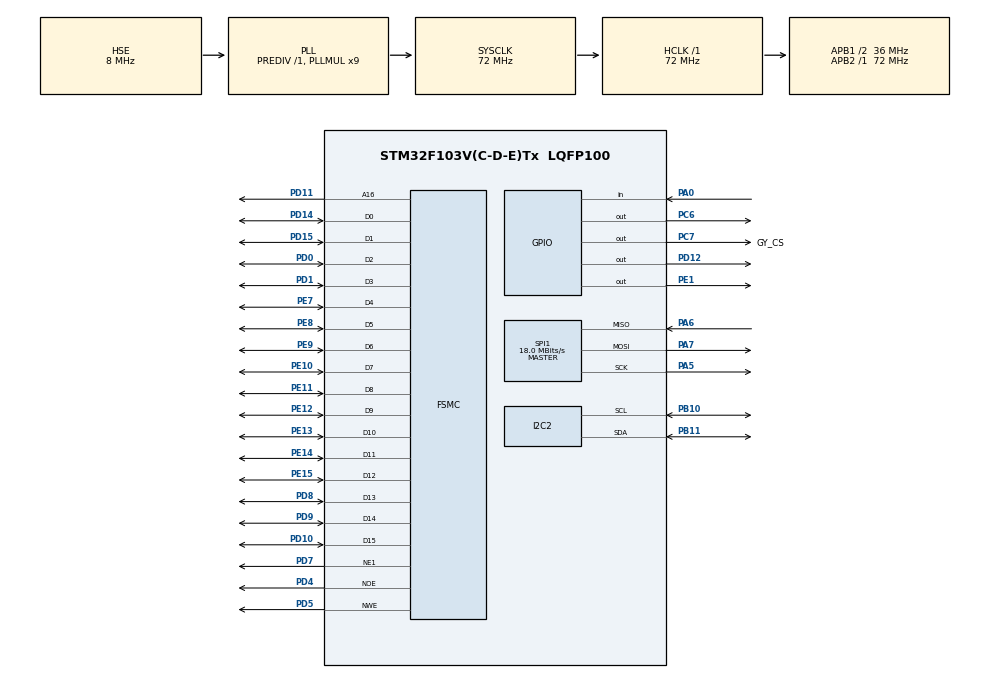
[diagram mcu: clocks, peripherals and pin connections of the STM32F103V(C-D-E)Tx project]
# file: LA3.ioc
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Mcu.Family=STM32F1
Mcu.Name=STM32F103V(C-D-E)Tx
Mcu.Package=LQFP100
NVIC.PriorityGroup=NVIC_PRIORITYGROUP_4
NVIC.TIM2_IRQn=true\:0\:0\:false\:false\:true\:true\:true\:true
OSC_IN.Mode=HSE-External-Oscillator
OSC_IN.Signal=RCC_OSC_IN
OSC_OUT.Mode=HSE-External-Oscillator
OSC_OUT.Signal=RCC_OSC_OUT
PA0-WKUP.Signal=GPIO_Input
PA13.Mode=Serial_Wire
PA13.Signal=SYS_JTMS-SWDIO
PA14.Mode=Serial_Wire
PA14.Signal=SYS_JTCK-SWCLK
PA5.Mode=Full_Duplex_Master
PA5.Signal=SPI1_SCK
PA6.Mode=Full_Duplex_Master
PA6.Signal=SPI1_MISO
PA7.Mode=Full_Duplex_Master
PA7.Signal=SPI1_MOSI
PB10.Mode=I2C
PB10.Signal=I2C2_SCL
PB11.Mode=I2C
PB11.Signal=I2C2_SDA
PC14-OSC32_IN.Mode=LSE-External-Oscillator
PC14-OSC32_IN.Signal=RCC_OSC32_IN
PC15-OSC32_OUT.Mode=LSE-External-Oscillator
PC15-OSC32_OUT.Signal=RCC_OSC32_OUT
PC6.GPIO_ModeDefaultOutputPP=GPIO_MODE_OUTPUT_PP
PC6.GPIO_PuPd=GPIO_PULLUP
PC6.GPIO_Speed=GPIO_SPEED_FREQ_HIGH
PC6.PinState=GPIO_PIN_SET
PC6.Signal=GPIO_Output
PC7.GPIO_Label=GY_CS
PC7.GPIO_Speed=GPIO_SPEED_FREQ_HIGH
PC7.PinState=GPIO_PIN_RESET
PC7.Signal=GPIO_Output
PD0.Mode=16b-d1
PD0.Signal=FSMC_D2
PD1.Mode=16b-d1
PD1.Signal=FSMC_D3
PD10.Mode=16b-d1
PD10.Signal=FSMC_D15
PD11.Mode=A16_1
PD11.Signal=FSMC_A16
PD12.Signal=GPIO_Output
PD14.Mode=16b-d1
PD14.Signal=FSMC_D0
PD15.Mode=16b-d1
PD15.Signal=FSMC_D1
PD4.Mode=Lcd1
PD4.Signal=FSMC_NOE
PD5.Mode=Lcd1
PD5.Signal=FSMC_NWE
PD7.Mode=NorPsramChipSelect1_1
PD7.Signal=FSMC_NE1
PD8.Mode=16b-d1
PD8.Signal=FSMC_D13
PD9.Mode=16b-d1
PD9.Signal=FSMC_D14
PE1.GPIO_Speed=GPIO_SPEED_FREQ_HIGH
PE1.Signal=GPIO_Output
PE10.Mode=16b-d1
PE10.Signal=FSMC_D7
PE11.Mode=16b-d1
PE11.Signal=FSMC_D8
PE12.Mode=16b-d1
PE12.Signal=FSMC_D9
PE13.Mode=16b-d1
PE13.Signal=FSMC_D10
PE14.Mode=16b-d1
PE14.Signal=FSMC_D11
PE15.Mode=16b-d1
PE15.Signal=FSMC_D12
PE7.Mode=16b-d1
PE7.Signal=FSMC_D4
PE8.Mode=16b-d1
PE8.Signal=FSMC_D5
PE9.Mode=16b-d1
PE9.Signal=FSMC_D6
ProjectManager.HeapSize=0x200
ProjectManager.StackSize=0x400
ProjectManager.TargetToolchain=STM32CubeIDE
RCC.ADCPresc=RCC_ADCPCLK2_DIV6
RCC.AHBFreq_Value=72000000
RCC.APB1CLKDivider=RCC_HCLK_DIV2
RCC.APB1Freq_Value=36000000
RCC.APB1TimFreq_Value=72000000
RCC.APB2Freq_Value=72000000
RCC.APB2TimFreq_Value=72000000
RCC.HCLKFreq_Value=72000000
RCC.PLLMUL=RCC_PLL_MUL9
RCC.PLLSourceVirtual=RCC_PLLSOURCE_HSE
RCC.SYSCLKFreq_VALUE=72000000
RCC.SYSCLKSource=RCC_SYSCLKSOURCE_PLLCLK
RCC.USBFreq_Value=72000000
RTC.AutoPrediv=RTC_AUTO_1_SECOND
SPI1.BaudRatePrescaler=SPI_BAUDRATEPRESCALER_4
SPI1.CalculateBaudRate=18.0 MBits/s
SPI1.DataSize=SPI_DATASIZE_8BIT
SPI1.Direction=SPI_DIRECTION_2LINES
SPI1.Mode=SPI_MODE_MASTER
SPI1.VirtualType=VM_MASTER
TIM2.Period=1
TIM2.Prescaler=7199
VP_RTC_VS_RTC_Activate.Mode=RTC_Enabled
VP_TIM2_VS_ClockSourceINT.Mode=Internal
board=custom

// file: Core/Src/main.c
/* USER CODE BEGIN Header */
/**
  ******************************************************************************
  * @file           : main.c
  * @brief          : Main program body
  ******************************************************************************
  * @attention
  *
  * Copyright (c) 2022 STMicroelectronics.
  * All rights reserved.
  *
  * This software is licensed under terms that can be found in the LICENSE file
  * in the root directory of this software component.
  * If no LICENSE file comes with this software, it is provided AS-IS.
  *
  ******************************************************************************
  */
/* USER CODE END Header */
#include "main.h"
#include "i2c.h"
#include "rtc.h"
#include "spi.h"
#include "tim.h"
#include "gpio.h"
#include "fsmc.h"

/* USER CODE BEGIN Includes */
#include "lcd.h"
#include "MPU9250.h"
//#include "MahonyAHRS.h"
//#include "MadgwickAHRS.h"
#include "stdio.h"
#include "string.h"
/* USER CODE END Includes */

/* USER CODE BEGIN PTD */
RTC_TimeTypeDef sTime = {0};
/* USER CODE END PTD */

void SystemClock_Config(void);
/* USER CODE BEGIN PFP */
void mpu9250_read_reg(uint8_t reg, uint8_t *data, uint8_t len);
/* USER CODE END PFP */

/* USER CODE BEGIN 0 */
volatile uint8_t timer_flag = 0;
int runned = 0;
uint8_t xMSB;
uint8_t xLSB;
uint8_t yMSB;
uint8_t yLSB;
uint8_t HMC5883L_Addr = 0x1E;
uint8_t CRA = 0x70;
uint8_t CRB = 0xA0;
uint8_t CR_C = 0x00;
uint8_t request = 0x00;
uint8_t qua = 0;
int xycoor = 0;
int lefting = 0;
int righting = 0;

int hit = 0;
int record = 1;
int hitcount = 0;

char buff[31];
char buff1[31];
char buff2[31];

uint32_t currentTime = 0;
uint32_t previousTime = 0;
float elapsedTime = 0;

float PI = 3.141592;

float acc[3];
float gyro[3];
float mag[3];
float pitch=0;
float roll=0;
float yaw=0;
float acc0,acc1,acc2,gyro0,gyro1,gyro2,mag0,mag1,mag2;
float gyroAngleX,gyroAngleY,gyroAngleZ;
char counter[9];
char _hitcount[9];
//char str[100];
int16_t AccData[3], GyroData[3], MagData[3], Gyro_offset[3];

/* USER CODE END 0 */

int main(void)
{

  /* MCU Configuration--------------------------------------------------------*/

  /* Reset of all peripherals, Initializes the Flash interface and the Systick. */
  HAL_Init();

  /* Configure the system clock */
  SystemClock_Config();

  /* Initialize all configured peripherals */
  MX_GPIO_Init();
  MX_I2C2_Init();
  MX_FSMC_Init();
  MX_TIM2_Init();
  MX_SPI1_Init();
  MX_RTC_Init();
  /* USER CODE BEGIN 2 */
  LCD_INIT();
  MPU9250_Init();
  MPU9250_SetAccelRange(ACCEL_RANGE_8G);
  MPU9250_SetGyroRange(GYRO_RANGE_1000DPS);
  MPU9250_SetSampleRateDivider(LP_ACCEL_ODR_500HZ);
  imu_calibrateGyro_noclass(Gyro_offset);

  /* USER CODE END 2 */

  /* Infinite loop */
  while (1)
  {

    /* USER CODE BEGIN 3 */
	  if (!runned) {

		  LCD_Clear(0,0, 239,319, WHITE);
		  runned = 1;
	  }

	  MPU9250_GetData(AccData, MagData, GyroData);
//	  acc0 = AccData[0];
//	  acc1 = AccData[1];
//	  acc2 = AccData[2];
//	  gyro0 = GyroData[0];
//	  gyro1 = GyroData[1];
//	  gyro2 = GyroData[2];
//	  mag0 = MagData[0];
//	  mag1 = MagData[1];
//	  mag2 = MagData[2];
	  //MahonyAHRSupdateIMU(gyro0,gyro1,gyro2, acc0, acc1, acc2, pitch, roll, yaw);
	  //MahonyAHRSupdate(gyro0,gyro1,gyro2, acc0, acc1, acc2,mag0,mag1,mag2);
	  imu_normalizeGyro(GyroData,Gyro_offset);

//	  printf("%08d;%08d;%08d;%08d;%08d;%08d;%08d;%08d;%08d\n",
//	    (int16_t)AccData[0], (int16_t)AccData[1], (int16_t)AccData[2],
//	    (int16_t)GyroData[0], (int16_t)GyroData[1], (int16_t)GyroData[2],
//	    (int16_t)MagData[0], (int16_t)MagData[1], (int16_t)MagData[2]);

	  for (int i=0;i<3;i++) {
		  acc[i] = AccData[i]/2048.0;
		  mag[i] = MagData[i];
		  gyro[i] = (GyroData[i] - Gyro_offset[i])/ 131.0;
		  if ( -11 < gyro[i] && gyro[i] < 11){
			  gyro[i] =0;
		  }
		  gyro[i] *= (PI/180.0);
		  //gyro[i] = GyroData[i];
	  }

	  if ( -8.5 > acc[2]  && record == 1) {
		  hit = 1; record = 0;
		  HAL_Delay(3);
	  } else {
		  hit = 0;
	  }

	  if (-8.5 > acc[2] || acc[2] > 8.5) {

		  gyro[2] = 0.0;
		  HAL_Delay(3);
	  }

	  if (hit == 1 && record == 0) {hitcount++; record = 1; }

	  previousTime = currentTime;

	  currentTime = HAL_GetTick();
	  elapsedTime = (currentTime - previousTime) / 1000.0;

	  gyroAngleX = gyroAngleX + gyro[0]* elapsedTime;
	  gyroAngleY = gyroAngleY + gyro[1]* elapsedTime;
	  gyroAngleZ = gyroAngleZ + gyro[2]* elapsedTime;

	  acc0 = acc[0];
	  acc1 = acc[1];
	  acc2 = acc[2];
	  gyro0 = gyro[0];
	  gyro1 = gyro[1];
	  gyro2 = gyro[2];
	  mag0 = MagData[0];
	  mag1 = MagData[1];
	  mag2 = MagData[2];

	  //MadgwickAHRSupdate(gyro0,gyro1,gyro2, acc0, acc1, acc2,mag0,mag1,mag2);
	  //MahonyAHRSupdateIMU(gyro0*PI/180.0f,gyro1*PI/180.0f,gyro2*PI/180.0f, acc0, acc1, acc2, &pitch, &roll, &yaw);

//	  if (acc[0]>3 && (acc[0] != 8 && acc[0] != 9 && acc[0] != 10 )) {
//	  if (acc[0] > 2.3 && (acc[2] == 8 ||acc[2] == 9 ||acc[2] == 10)) {
//		  lefting = 1;
//		  righting = 0;
//		  HAL_Delay(20);
//	  } else if ( acc[0] < -2.3 && (acc[2] == 8 || acc[2] == 9 ||acc[2] == 10)) {
//		  righting = 1;
//		  lefting = 0;
//
//	  } else {
//	  		  lefting=0;
//	  		  righting=0;
//	  }

	  if (gyroAngleZ > 0.95) {
		  LCD_DrawString(100, 200, "Drum1");
		  if (hit == 1) {gyroAngleZ = 1.2;}

	  } else if (0.1 <= gyroAngleZ  && gyroAngleZ < 0.95) {
		  LCD_DrawString(100, 200, "Drum2");
		  if (hit == 1) {gyroAngleZ = 0.45;}

	  } else if (-0.1 < gyroAngleZ && gyroAngleZ < 0.1) {
		  LCD_DrawString(100, 200, "Nothi");

	  } else if (-0.1 > gyroAngleZ && gyroAngleZ > -0.9) {
		  LCD_DrawString(100, 200, "Drum3");
		  if (hit == 1 ) {gyroAngleZ = -0.45;}

	  } else {
		  LCD_DrawString(100, 200, "Drum4");
		  if (hit == 1) {gyroAngleZ = -1.15;}
	  }

	  sprintf(buff, "acc : %6.2f,%6.2f,%6.2f", acc[0], acc[1], acc[2]);
	  LCD_DrawString(0, 40, buff);
	  sprintf(buff, "gyro: %6.2f,%6.2f,%6.2f", gyro[0], gyro[1], gyro[2]);
	  LCD_DrawString(0, 60, buff);
	  sprintf(buff, "off: %6d,%6d,%6d", Gyro_offset[0], Gyro_offset[1], Gyro_offset[2]);
	  LCD_DrawString(0, 80, buff);
	  sprintf(buff, "mag : %6.0f,%6.0f,%6.0f", mag[0], mag[1], mag[2]);
	  LCD_DrawString(0, 100, buff);
	  sprintf(buff, "roll : %6.2f,%6.2f,%6.2f", gyroAngleX, gyroAngleY, gyroAngleZ);
	  LCD_DrawString(0, 120, buff);
//	  sprintf(gyro, "gyro: %4d,%4d,%4d", (int16_t)GyroData[0], (int16_t)GyroData[1], (int16_t)GyroData[2]);
//	  sprintf(counter, "xycoor: %8d", (int16_t)xycoor);
//	  LCD_DrawString(0,60, counter);
	  sprintf(buff, "Time: %6.5f", elapsedTime);
	  LCD_DrawString(0,160, buff);
	  sprintf(_hitcount, "hitcount: %4d", (int16_t)hitcount);
	  LCD_DrawString(60,220, _hitcount);
//	  sprintf(acc1, "%8d", (int16_t)accg1);
//	  sprintf(acc2, "%8d", (int16_t)accg2);
//	  sprintf(acc3, "%8d", (int16_t)accg3);
//	  sprintf(gyro1, "%8d", (int16_t)GyroData[0]);
//	  sprintf(gyro2, "%8d", (int16_t)GyroData[1]);
//	  sprintf(gyro3, "%8d", (int16_t)GyroData[2]);
//	  sprintf(MagData1, "%8d", (int16_t)MagData[0]);
//	  sprintf(MagData2, "%8d", (int16_t)MagData[1]);
//	  sprintf(MagData3, "%8d", (int16_t)MagData[2]);
//	  sprintf(str,"%08d;%08d;%08d;%08d;%08d;%08d;%08d;%08d;%08d",
//			    (int16_t)AccData[0], (int16_t)AccData[1], (int16_t)AccData[2],
//			    (int16_t)GyroData[0], (int16_t)GyroData[1], (int16_t)GyroData[2],
//			    (int16_t)MagData[0], (int16_t)MagData[1], (int16_t)MagData[2]);
//	  sprintf(buff, "acc : %6.2f,%6.2f,%6.2f", AccData[0], AccData[1], AccData[2]);
//	  LCD_DrawString(0, 40, buff);

//	  LCD_DrawString(120,40, acc1);
//	  LCD_DrawString(120,60, acc2);
//	  LCD_DrawString(120,80, acc3);
//	  LCD_DrawString(120,100, gyro1);
//	  LCD_DrawString(120,120, gyro2);
//	  LCD_DrawString(120,140, gyro3);
//	  LCD_DrawString(120,160, MagData1);
//	  LCD_DrawString(120,180, MagData2);
//	  LCD_DrawString(120,200, MagData3);

	  if (!HAL_GPIO_ReadPin(GPIOA, GPIO_PIN_0) == RESET || !HAL_GPIO_ReadPin(GPIOC, GPIO_PIN_6) == SET) {
		  gyroAngleX = 0;
		  gyroAngleY = 0;
		  gyroAngleZ = 0;
//		  sprintf(buff, "anglex: %6.5f", gyroAngleX);
//		  LCD_DrawString(0,180, buff);
	  }

  }

  /* USER CODE END 3 */
}

void SystemClock_Config(void)
{
  RCC_OscInitTypeDef RCC_OscInitStruct = {0};
  RCC_ClkInitTypeDef RCC_ClkInitStruct = {0};
  RCC_PeriphCLKInitTypeDef PeriphClkInit = {0};

  /** Initializes the RCC Oscillators according to the specified parameters
  * in the RCC_OscInitTypeDef structure.
  */
  RCC_OscInitStruct.OscillatorType = RCC_OSCILLATORTYPE_LSI|RCC_OSCILLATORTYPE_HSE;
  RCC_OscInitStruct.HSEState = RCC_HSE_ON;
  RCC_OscInitStruct.HSEPredivValue = RCC_HSE_PREDIV_DIV1;
  RCC_OscInitStruct.HSIState = RCC_HSI_ON;
  RCC_OscInitStruct.LSIState = RCC_LSI_ON;
  RCC_OscInitStruct.PLL.PLLState = RCC_PLL_ON;
  RCC_OscInitStruct.PLL.PLLSource = RCC_PLLSOURCE_HSE;
  RCC_OscInitStruct.PLL.PLLMUL = RCC_PLL_MUL9;
  if (HAL_RCC_OscConfig(&RCC_OscInitStruct) != HAL_OK)
  {
    Error_Handler();
  }

  /** Initializes the CPU, AHB and APB buses clocks
  */
  RCC_ClkInitStruct.ClockType = RCC_CLOCKTYPE_HCLK|RCC_CLOCKTYPE_SYSCLK
                              |RCC_CLOCKTYPE_PCLK1|RCC_CLOCKTYPE_PCLK2;
  RCC_ClkInitStruct.SYSCLKSource = RCC_SYSCLKSOURCE_PLLCLK;
  RCC_ClkInitStruct.AHBCLKDivider = RCC_SYSCLK_DIV1;
  RCC_ClkInitStruct.APB1CLKDivider = RCC_HCLK_DIV2;
  RCC_ClkInitStruct.APB2CLKDivider = RCC_HCLK_DIV1;

  if (HAL_RCC_ClockConfig(&RCC_ClkInitStruct, FLASH_LATENCY_2) != HAL_OK)
  {
    Error_Handler();
  }
  PeriphClkInit.PeriphClockSelection = RCC_PERIPHCLK_RTC;
  PeriphClkInit.RTCClockSelection = RCC_RTCCLKSOURCE_LSI;
  if (HAL_RCCEx_PeriphCLKConfig(&PeriphClkInit) != HAL_OK)
  {
    Error_Handler();
  }
}

/* USER CODE BEGIN 4 */

#define numCalPoints_noclass 100
void imu_calibrateGyro_noclass (int16_t Gyro_offset[3]) {
	//Init
	int32_t sum[3] = {0, 0, 0};
	int16_t AccData[3], GyroData[3], MagData[3];

	// Save specified number of points, add them to sum (x,y,z)
	for (uint16_t i = 0; i < numCalPoints_noclass; i++) {
		HAL_Delay(3);
	    MPU9250_GetData(AccData, MagData, GyroData);
	    for (int j = 0; j < 3; j++) sum[j] += GyroData[j];
	}

	// Average the saved data points to find the gyroscope offset
	for (int j = 0; j < 3; j++) Gyro_offset[j] = (float) sum[j] / numCalPoints_noclass;

}

void imu_normalizeGyro (int16_t GyroData, int16_t Gyro_offset) {
		GyroData = (GyroData - Gyro_offset)/ 32.8;
//		if  (GyroData < 100) {
//			GyroData = 0;
			//LCD_DrawString(0,200, "done");
		//}
}

/* USER CODE END 4 */

void Error_Handler(void)
{
  __disable_irq();
  while (1)
  {
  }
}
